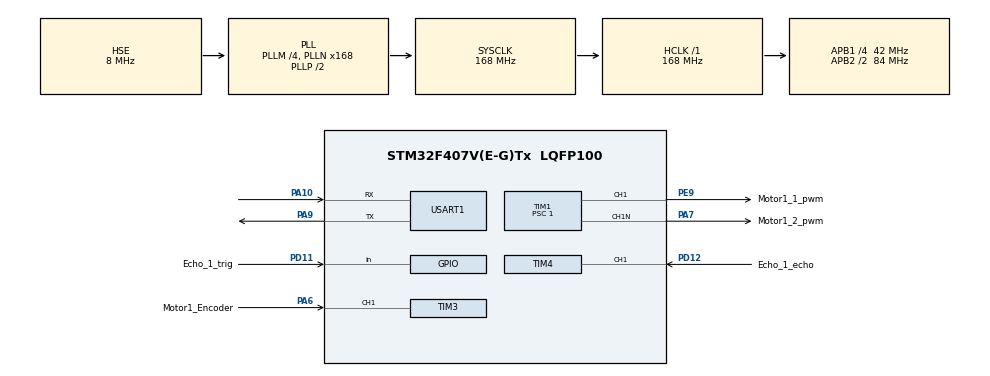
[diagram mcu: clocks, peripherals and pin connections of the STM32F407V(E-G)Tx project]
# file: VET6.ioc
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Mcu.Family=STM32F4
Mcu.Name=STM32F407V(E-G)Tx
Mcu.Package=LQFP100
NVIC.PriorityGroup=NVIC_PRIORITYGROUP_4
NVIC.TIM3_IRQn=true\:0\:0\:false\:false\:true\:true
NVIC.TIM4_IRQn=true\:0\:0\:false\:false\:true\:true
PA10.Mode=Asynchronous
PA10.Signal=USART1_RX
PA6.GPIO_Label=Motor1_Encoder
PA6.Signal=S_TIM3_CH1
PA7.GPIO_Label=Motor1_2_pwm
PA7.Mode=PWM Generation1 CH1 CH1N
PA7.Signal=TIM1_CH1N
PA9.Mode=Asynchronous
PA9.Signal=USART1_TX
PD11.GPIO_Label=Echo_1_trig
PD11.Signal=GPIO_Input
PD12.GPIO_Label=Echo_1_echo
PD12.Signal=S_TIM4_CH1
PE9.GPIO_Label=Motor1_1_pwm
PE9.Signal=S_TIM1_CH1
PH0-OSC_IN.Mode=HSE-External-Oscillator
PH0-OSC_IN.Signal=RCC_OSC_IN
PH1-OSC_OUT.Mode=HSE-External-Oscillator
PH1-OSC_OUT.Signal=RCC_OSC_OUT
ProjectManager.HeapSize=0x200
ProjectManager.StackSize=0x400
ProjectManager.TargetToolchain=MDK-ARM V5
RCC.48MHZClocksFreq_Value=84000000
RCC.AHBFreq_Value=168000000
RCC.APB1CLKDivider=RCC_HCLK_DIV4
RCC.APB1Freq_Value=42000000
RCC.APB1TimFreq_Value=84000000
RCC.APB2CLKDivider=RCC_HCLK_DIV2
RCC.APB2Freq_Value=84000000
RCC.APB2TimFreq_Value=168000000
RCC.CortexFreq_Value=168000000
RCC.HCLKFreq_Value=168000000
RCC.HSE_VALUE=8000000
RCC.HSI_VALUE=16000000
RCC.LSE_VALUE=32768
RCC.PLLM=4
RCC.PLLN=168
RCC.PLLSourceVirtual=RCC_PLLSOURCE_HSE
RCC.SYSCLKFreq_VALUE=168000000
RCC.SYSCLKSource=RCC_SYSCLKSOURCE_PLLCLK
RCC.VCOOutputFreq_Value=336000000
SH.S_TIM1_CH1.0=TIM1_CH1,PWM Generation1 CH1 CH1N
SH.S_TIM3_CH1.0=TIM3_CH1,Input_Capture1_from_TI1
SH.S_TIM4_CH1.0=TIM4_CH1,Input_Capture1_from_TI1
TIM1.Channel-PWM\ Generation1\ CH1\ CH1N=TIM_CHANNEL_1
TIM1.Period=900
TIM1.Prescaler=1
TIM3.Channel-Input_Capture1_from_TI1=TIM_CHANNEL_1
TIM3.Period=0xFFFF
TIM3.Prescaler=167
TIM4.Channel-Input_Capture1_from_TI1=TIM_CHANNEL_1
TIM4.Period=0xFFFF
TIM4.Prescaler=167
USART1.VirtualMode=VM_ASYNC
VP_TIM1_VS_ClockSourceINT.Mode=Internal
VP_TIM3_VS_ClockSourceINT.Mode=Internal
VP_TIM4_VS_ClockSourceINT.Mode=Internal
board=custom

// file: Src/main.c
/**
  ******************************************************************************
  * @file           : main.c
  * @brief          : Main program body
  ******************************************************************************
  ** This notice applies to any and all portions of this file
  * that are not between comment pairs USER CODE BEGIN and
  * USER CODE END. Other portions of this file, whether
  * inserted by the user or by software development tools
  * are owned by their respective copyright owners.
  *
  * COPYRIGHT(c) 2019 STMicroelectronics
  *
  * Redistribution and use in source and binary forms, with or without modification,
  * are permitted provided that the following conditions are met:
  *   1. Redistributions of source code must retain the above copyright notice,
  *      this list of conditions and the following disclaimer.
  *   2. Redistributions in binary form must reproduce the above copyright notice,
  *      this list of conditions and the following disclaimer in the documentation
  *      and/or other materials provided with the distribution.
  *   3. Neither the name of STMicroelectronics nor the names of its contributors
  *      may be used to endorse or promote products derived from this software
  *      without specific prior written permission.
  *
  * THIS SOFTWARE IS PROVIDED BY THE COPYRIGHT HOLDERS AND CONTRIBUTORS "AS IS"
  * AND ANY EXPRESS OR IMPLIED WARRANTIES, INCLUDING, BUT NOT LIMITED TO, THE
  * IMPLIED WARRANTIES OF MERCHANTABILITY AND FITNESS FOR A PARTICULAR PURPOSE ARE
  * DISCLAIMED. IN NO EVENT SHALL THE COPYRIGHT HOLDER OR CONTRIBUTORS BE LIABLE
  * FOR ANY DIRECT, INDIRECT, INCIDENTAL, SPECIAL, EXEMPLARY, OR CONSEQUENTIAL
  * DAMAGES (INCLUDING, BUT NOT LIMITED TO, PROCUREMENT OF SUBSTITUTE GOODS OR
  * SERVICES; LOSS OF USE, DATA, OR PROFITS; OR BUSINESS INTERRUPTION) HOWEVER
  * CAUSED AND ON ANY THEORY OF LIABILITY, WHETHER IN CONTRACT, STRICT LIABILITY,
  * OR TORT (INCLUDING NEGLIGENCE OR OTHERWISE) ARISING IN ANY WAY OUT OF THE USE
  * OF THIS SOFTWARE, EVEN IF ADVISED OF THE POSSIBILITY OF SUCH DAMAGE.
  *
  ******************************************************************************
  */
#include "main.h"
#include "stm32f4xx_hal.h"
#include "tim.h"
#include "usart.h"
#include "gpio.h"

/* USER CODE BEGIN Includes */
#define Echo1_trig_GPIO_PIN                       GPIO_PIN_11
#define Echo1_trig_GPIO                           GPIOD
#define  P_DATA      4                                 //P参数
#define  I_DATA      0                                //I参数
#define  D_DATA     -1                              //D参数

#include "stdio.h"
#ifdef __GNUC__
#define PUTCHAR_PROTOTYPE int __io_putchar(int ch)
#else
#define PUTCHAR_PROTOTYPE int fputc(int ch, FILE *f)
#endif /* __GNUC__ */
PUTCHAR_PROTOTYPE
{
	HAL_UART_Transmit(&huart1 , (uint8_t *)&ch, 1, 0xFFFF);
	return ch;
}
/* USER CODE END Includes */

/* USER CODE BEGIN PV */
/* Private variables ---------------------------------------------------------*/

/* USER CODE END PV */

void SystemClock_Config(void);

/* USER CODE BEGIN PFP */
/* Private function prototypes -----------------------------------------------*/

typedef struct
{
   __IO int      SetPoint;                                 //设定目标 Desired Value
   __IO double   Proportion;                               //比例常数 Proportional Const
   __IO double   Integral;                                 //积分常数 Integral Const
   __IO double   Derivative;                               //微分常数 Derivative Const
   __IO int      LastError;                                //Error[-1]
   __IO int      PrevError;                                //Error[-2]
}PID;

typedef struct              //测量高电平脉宽
{
	uint8_t   ucFinishFlag;
	uint8_t   ucStartFlag;
	uint16_t  usCtr;
	uint16_t  usPeriod;
}STRUCT_CAPTURE;

STRUCT_CAPTURE strCapture = { 0, 0, 0 };

__IO uint16_t time_count=0;        // 时间计数，每1ms增加一(与滴定时器频率有关)
__IO uint32_t CaptureNumber=0;     // 输入捕获数
__IO uint8_t  start_flag=0;
__IO double encoder_speed=0;
__IO uint16_t PWM_Duty;
;
static PID sPID;
static PID *sptr = &sPID;
/* USER CODE END PFP */

/* USER CODE BEGIN 0 */
void IncPIDInit(void);
int IncPIDCalc(int NextPoint);
void HcSr04_Delay(__IO uint32_t i);

/* USER CODE END 0 */

int main(void)
{
  /* USER CODE BEGIN 1 */
	 uint32_t temp;
	uint32_t ulTmrClk, ulTime;
  /* USER CODE END 1 */

  /* MCU Configuration----------------------------------------------------------*/

  /* Reset of all peripherals, Initializes the Flash interface and the Systick. */
  HAL_Init();

  /* Configure the system clock */
  SystemClock_Config();

  /* Initialize all configured peripherals */
  MX_GPIO_Init();
  MX_TIM1_Init();
  MX_TIM3_Init();
  MX_USART1_UART_Init();
  MX_TIM4_Init();
  /* USER CODE BEGIN 2 */

	IncPIDInit();
	/* 启动定时器 */
	HAL_TIM_Base_Start(&htim1);
	  /* 启动定时器通道和互补通道PWM输出 */
  HAL_TIM_PWM_Start(&htim1,TIM_CHANNEL_1);
  HAL_TIMEx_PWMN_Start(&htim1,TIM_CHANNEL_1);

	HAL_TIM_Base_Start(&htim3);
  HAL_TIM_IC_Start_IT(&htim3,TIM_CHANNEL_1);

	start_flag=1;
	printf("增量式PID算法控制电机旋转\n");

  /* USER CODE END 2 */

  /* Infinite loop */
  /* USER CODE BEGIN WHILE */
	sptr->SetPoint=10000;           //设定目标Desired Value
  while (1)
  {

  /* USER CODE END WHILE */
	  HAL_GPIO_WritePin(Echo1_trig_GPIO,Echo1_trig_GPIO_PIN,GPIO_PIN_SET);
		HcSr04_Delay(500);
    HAL_GPIO_WritePin(Echo1_trig_GPIO,Echo1_trig_GPIO_PIN,GPIO_PIN_RESET);
  /* USER CODE BEGIN 3 */
		if(strCapture.ucFinishFlag == 1 )
			{
				/* 计算高电平计数值 */
				ulTime = strCapture .usPeriod * 0xFFFF + strCapture .usCtr;
				temp=((ulTime % ulTmrClk)*340)/(1000*2);
				printf ( ">>测得距离为：%dmm\n",temp);
				strCapture .ucFinishFlag = 0;
				HAL_Delay(1000);
			}
  }
  /* USER CODE END 3 */

}

void SystemClock_Config(void)
{

  RCC_OscInitTypeDef RCC_OscInitStruct;
  RCC_ClkInitTypeDef RCC_ClkInitStruct;

    /**Configure the main internal regulator output voltage
    */
  __HAL_RCC_PWR_CLK_ENABLE();

  __HAL_PWR_VOLTAGESCALING_CONFIG(PWR_REGULATOR_VOLTAGE_SCALE1);

    /**Initializes the CPU, AHB and APB busses clocks
    */
  RCC_OscInitStruct.OscillatorType = RCC_OSCILLATORTYPE_HSE;
  RCC_OscInitStruct.HSEState = RCC_HSE_ON;
  RCC_OscInitStruct.PLL.PLLState = RCC_PLL_ON;
  RCC_OscInitStruct.PLL.PLLSource = RCC_PLLSOURCE_HSE;
  RCC_OscInitStruct.PLL.PLLM = 4;
  RCC_OscInitStruct.PLL.PLLN = 168;
  RCC_OscInitStruct.PLL.PLLP = RCC_PLLP_DIV2;
  RCC_OscInitStruct.PLL.PLLQ = 4;
  if (HAL_RCC_OscConfig(&RCC_OscInitStruct) != HAL_OK)
  {
    _Error_Handler(__FILE__, __LINE__);
  }

    /**Initializes the CPU, AHB and APB busses clocks
    */
  RCC_ClkInitStruct.ClockType = RCC_CLOCKTYPE_HCLK|RCC_CLOCKTYPE_SYSCLK
                              |RCC_CLOCKTYPE_PCLK1|RCC_CLOCKTYPE_PCLK2;
  RCC_ClkInitStruct.SYSCLKSource = RCC_SYSCLKSOURCE_PLLCLK;
  RCC_ClkInitStruct.AHBCLKDivider = RCC_SYSCLK_DIV1;
  RCC_ClkInitStruct.APB1CLKDivider = RCC_HCLK_DIV4;
  RCC_ClkInitStruct.APB2CLKDivider = RCC_HCLK_DIV2;

  if (HAL_RCC_ClockConfig(&RCC_ClkInitStruct, FLASH_LATENCY_5) != HAL_OK)
  {
    _Error_Handler(__FILE__, __LINE__);
  }

    /**Configure the Systick interrupt time
    */
  HAL_SYSTICK_Config(HAL_RCC_GetHCLKFreq()/1000);

    /**Configure the Systick
    */
  HAL_SYSTICK_CLKSourceConfig(SYSTICK_CLKSOURCE_HCLK);

  /* SysTick_IRQn interrupt configuration */
  HAL_NVIC_SetPriority(SysTick_IRQn, 0, 0);
}

/* USER CODE BEGIN 4 */

/**
  * 函数功能: 系统滴答定时器中断回调函数
  * 输入参数: 无
  * 返 回 值: 无
  * 说    明: 每发生一次滴答定时器中断进入该回调函数一次
  */
void HAL_SYSTICK_Callback(void)
{
  if(start_flag) // 等待脉冲输出后才开始计时
  {
    time_count++;         // 每1ms自动增一
    if(time_count==200)
    {
      __IO uint32_t count;
      __IO int para;
      __IO double cal;

      /* 得到编码器计数值，数值越大说明速度越大 */
      count=CaptureNumber;
      CaptureNumber=0;    // 清零，从零开始计数

      /* 计数得到增量式PID的增量数值 */
      para=IncPIDCalc(count);

      /* 根据增量数值调整当前电机速度 */
      if((para<-3)||(para>3)) // 不做 PID 调整，避免误差较小时频繁调节引起震荡。
      {
        PWM_Duty +=para/100;
      }
      if(PWM_Duty>899)PWM_Duty=899;

      // 11：编码器线数(转速一圈输出脉冲数)
      // 34：电机减数比，内部电机转动圈数与电机输出轴转动圈数比，即减速齿轮比
      cal=sptr->SetPoint;
			printf("\n设度中断时间 ->   %ds     ",time_count);
      printf("\n设定目标速度 ->%d个脉冲     ",sptr->SetPoint);
      printf("当前电机速度-> %d个脉冲\n     ",count);
			printf("差值电机速度-> %d个脉冲\n     ",count-sptr->SetPoint);
      printf("增量式PID算法计数结果值：%d   设置新的占空比为：%d\r\n",para,PWM_Duty);

			__HAL_TIM_SET_COMPARE(&htim1,TIM_CHANNEL_1,PWM_Duty);
      time_count=0;
    }
  }
}

/**
  * 函数功能: 定时器输入捕获中断回调函数
  * 输入参数: htim：定时器句柄
  * 返 回 值: 无
  * 说    明: 无
  */
void HAL_TIM_IC_CaptureCallback(TIM_HandleTypeDef *htim)
{
  CaptureNumber++;
}

/**************PID参数初始化********************************/
void IncPIDInit(void)
{
    sptr->LastError=0;            //Error[-1]
    sptr->PrevError=0;            //Error[-2]
    sptr->Proportion=P_DATA;      //比例常数 Proportional Const
    sptr->Integral=I_DATA;        //积分常数  Integral Const
    sptr->Derivative=D_DATA;      //微分常数 Derivative Const
    sptr->SetPoint=0;           //设定目标Desired Value
}
/********************增量式PID控制设计************************************/
int IncPIDCalc(int NextPoint)
{
  int iError,iIncpid;                                 //当前误差
  iError=sptr->SetPoint-NextPoint;                    //增量计算
  iIncpid=(sptr->Proportion * iError)                 //E[k]项
              -(sptr->Integral * sptr->LastError)     //E[k-1]项
              +(sptr->Derivative * sptr->PrevError);  //E[k-2]项

  sptr->PrevError=sptr->LastError;                    //存储误差，用于下次计算
  sptr->LastError=iError;
  return(iIncpid);                                    //返回增量值
}

void HcSr04_Delay(__IO uint32_t i){

	while(i--);
}

/* USER CODE END 4 */

void _Error_Handler(char *file, int line)
{
  while(1)
  {
  }
}

/************************ (C) COPYRIGHT STMicroelectronics *****END OF FILE****/
